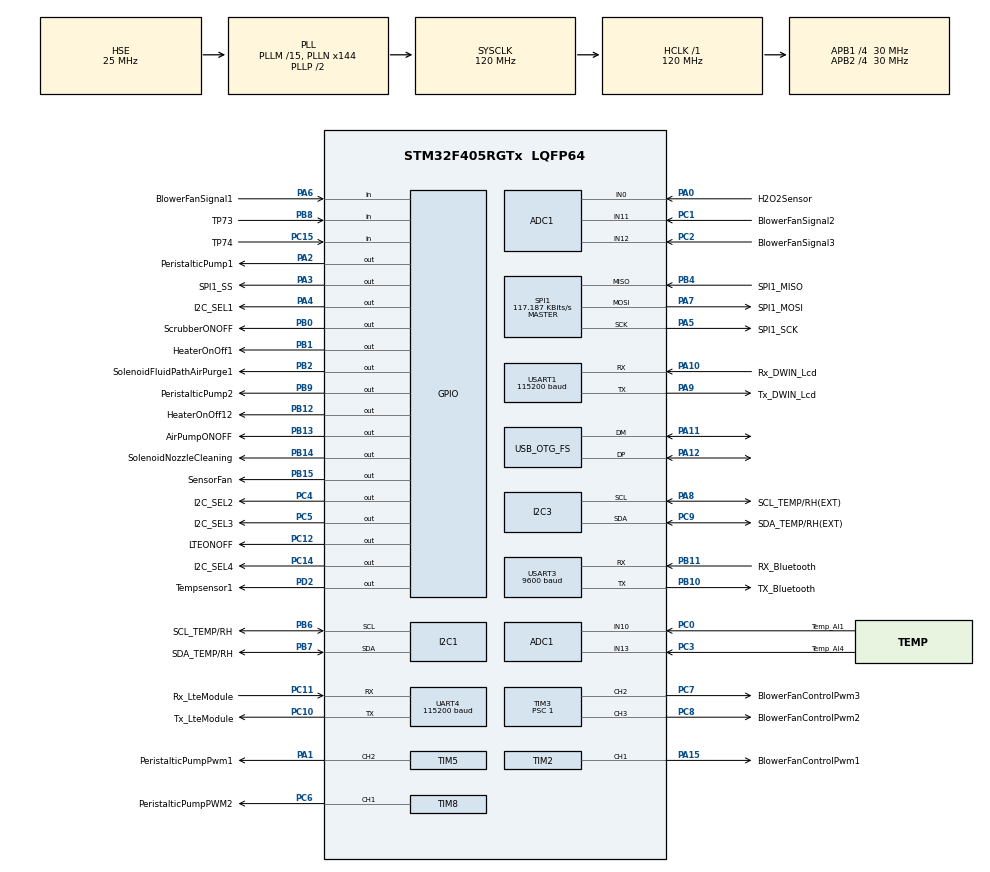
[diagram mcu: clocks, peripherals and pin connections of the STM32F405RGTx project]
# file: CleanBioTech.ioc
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ADC1.Channel-0\#ChannelRegularConversion=ADC_CHANNEL_0
ADC1.Channel-1\#ChannelRegularConversion=ADC_CHANNEL_10
ADC1.Channel-2\#ChannelRegularConversion=ADC_CHANNEL_11
ADC1.Channel-3\#ChannelRegularConversion=ADC_CHANNEL_12
ADC1.Channel-4\#ChannelRegularConversion=ADC_CHANNEL_13
ADC1.ClockPrescaler=ADC_CLOCK_SYNC_PCLK_DIV4
ADC1.ContinuousConvMode=ENABLE
ADC1.DMAContinuousRequests=ENABLE
ADC1.InjNumberOfConversion=0
ADC1.NbrOfConversion=5
ADC1.NbrOfConversionFlag=1
ADC1.Rank-0\#ChannelRegularConversion=1
ADC1.Rank-1\#ChannelRegularConversion=2
ADC1.Rank-2\#ChannelRegularConversion=3
ADC1.Rank-3\#ChannelRegularConversion=4
ADC1.Rank-4\#ChannelRegularConversion=5
ADC1.SamplingTime-0\#ChannelRegularConversion=ADC_SAMPLETIME_3CYCLES
ADC1.SamplingTime-1\#ChannelRegularConversion=ADC_SAMPLETIME_3CYCLES
ADC1.SamplingTime-2\#ChannelRegularConversion=ADC_SAMPLETIME_3CYCLES
ADC1.SamplingTime-3\#ChannelRegularConversion=ADC_SAMPLETIME_3CYCLES
ADC1.SamplingTime-4\#ChannelRegularConversion=ADC_SAMPLETIME_3CYCLES
ADC1.master=1
Dma.ADC1.0.Direction=DMA_PERIPH_TO_MEMORY
Dma.ADC1.0.FIFOMode=DMA_FIFOMODE_ENABLE
Dma.ADC1.0.FIFOThreshold=DMA_FIFO_THRESHOLD_FULL
Dma.ADC1.0.Instance=DMA2_Stream0
Dma.ADC1.0.MemBurst=DMA_MBURST_SINGLE
Dma.ADC1.0.MemDataAlignment=DMA_MDATAALIGN_WORD
Dma.ADC1.0.MemInc=DMA_MINC_ENABLE
Dma.ADC1.0.Mode=DMA_CIRCULAR
Dma.ADC1.0.PeriphBurst=DMA_PBURST_SINGLE
Dma.ADC1.0.PeriphDataAlignment=DMA_PDATAALIGN_WORD
Dma.ADC1.0.PeriphInc=DMA_PINC_DISABLE
Dma.ADC1.0.Priority=DMA_PRIORITY_LOW
Dma.Request0=ADC1
FATFS._CODE_PAGE=437
FATFS._FS_EXFAT=1
FATFS._FS_NORTC=0
FATFS._NORTC_MDAY=20
FATFS._NORTC_YEAR=2019
FATFS._USE_LFN=1
I2C1.NoStretchMode=I2C_NOSTRETCH_DISABLE
Mcu.Family=STM32F4
Mcu.Name=STM32F405RGTx
Mcu.Package=LQFP64
NVIC.DMA2_Stream0_IRQn=true\:0\:0\:false\:false\:true\:false\:true
NVIC.OTG_FS_IRQn=true\:0\:0\:false\:true\:true\:3\:false\:true
NVIC.PriorityGroup=NVIC_PRIORITYGROUP_4
NVIC.TIM7_IRQn=true\:0\:0\:false\:true\:true\:1\:true\:true
NVIC.USART1_IRQn=true\:0\:0\:false\:true\:true\:2\:true\:true
PA0-WKUP.GPIO_Label=H2O2Sensor
PA0-WKUP.Signal=ADCx_IN0
PA1.GPIO_Label=PeristalticPumpPwm1
PA1.GPIO_PuPd=GPIO_PULLUP
PA1.Signal=S_TIM5_CH2
PA10.GPIO_Label=Rx_DWIN_Lcd
PA10.Mode=Asynchronous
PA10.Signal=USART1_RX
PA11.GPIO_PuPd=GPIO_PULLUP
PA11.GPIO_Speed=GPIO_SPEED_FREQ_HIGH
PA11.Mode=Host_Only
PA11.Signal=USB_OTG_FS_DM
PA12.GPIO_PuPd=GPIO_PULLUP
PA12.GPIO_Speed=GPIO_SPEED_FREQ_HIGH
PA12.Mode=Host_Only
PA12.Signal=USB_OTG_FS_DP
PA13.Mode=Trace_Asynchronous_SW
PA13.Signal=SYS_JTMS-SWDIO
PA14.Mode=Trace_Asynchronous_SW
PA14.Signal=SYS_JTCK-SWCLK
PA15.GPIO_Label=BlowerFanControlPwm1
PA15.GPIO_PuPd=GPIO_PULLUP
PA15.Signal=S_TIM2_CH1_ETR
PA2.GPIO_Label=PeristalticPump1
PA2.Signal=GPIO_Output
PA3.GPIO_Label=SPI1_SS
PA3.GPIO_PuPd=GPIO_PULLUP
PA3.GPIO_Speed=GPIO_SPEED_FREQ_VERY_HIGH
PA3.PinState=GPIO_PIN_SET
PA3.Signal=GPIO_Output
PA4.GPIO_Label=I2C_SEL1
PA4.GPIO_PuPd=GPIO_PULLUP
PA4.Signal=GPIO_Output
PA5.GPIO_Label=SPI1_SCK
PA5.Mode=Full_Duplex_Master
PA5.Signal=SPI1_SCK
PA6.GPIO_Label=BlowerFanSignal1
PA6.GPIO_PuPd=GPIO_PULLUP
PA6.Signal=GPIO_Input
PA7.GPIO_Label=SPI1_MOSI
PA7.GPIO_PuPd=GPIO_PULLUP
PA7.Mode=Full_Duplex_Master
PA7.Signal=SPI1_MOSI
PA8.GPIO_Label=SCL_TEMP/RH(EXT)
PA8.Mode=I2C
PA8.Signal=I2C3_SCL
PA9.GPIO_Label=Tx_DWIN_Lcd
PA9.GPIO_Speed=GPIO_SPEED_FREQ_HIGH
PA9.Mode=Asynchronous
PA9.Signal=USART1_TX
PB0.GPIO_Label=ScrubberONOFF
PB0.GPIO_PuPd=GPIO_PULLDOWN
PB0.Signal=GPIO_Output
PB1.GPIO_Label=HeaterOnOff1
PB1.GPIO_PuPd=GPIO_PULLDOWN
PB1.Signal=GPIO_Output
PB10.GPIO_Label=TX_Bluetooth
PB10.GPIO_Speed=GPIO_SPEED_FREQ_HIGH
PB10.Mode=Asynchronous
PB10.Signal=USART3_TX
PB11.GPIO_Label=RX_Bluetooth
PB11.Mode=Asynchronous
PB11.Signal=USART3_RX
PB12.GPIO_Label=HeaterOnOff12
PB12.GPIO_PuPd=GPIO_PULLDOWN
PB12.Signal=GPIO_Output
PB13.GPIO_Label=AirPumpONOFF
PB13.GPIO_PuPd=GPIO_PULLDOWN
PB13.Signal=GPIO_Output
PB14.GPIO_Label=SolenoidNozzleCleaning
PB14.GPIO_PuPd=GPIO_PULLUP
PB14.Signal=GPIO_Output
PB15.GPIO_Label=SensorFan
PB15.GPIO_ModeDefaultOutputPP=GPIO_MODE_OUTPUT_PP
PB15.GPIO_PuPd=GPIO_PULLUP
PB15.PinState=GPIO_PIN_SET
PB15.Signal=GPIO_Output
PB2.GPIO_Label=SolenoidFluidPathAirPurge1
PB2.GPIO_PuPd=GPIO_PULLUP
PB2.Signal=GPIO_Output
PB3.Mode=Trace_Asynchronous_SW
PB3.Signal=SYS_JTDO-SWO
PB4.GPIO_Label=SPI1_MISO
PB4.GPIO_PuPd=GPIO_PULLUP
PB4.Mode=Full_Duplex_Master
PB4.Signal=SPI1_MISO
PB6.GPIO_Label=SCL_TEMP/RH
PB6.Mode=I2C
PB6.Signal=I2C1_SCL
PB7.GPIO_Label=SDA_TEMP/RH
PB7.Mode=I2C
PB7.Signal=I2C1_SDA
PB8.GPIO_Label=TP73
PB8.GPIO_PuPd=GPIO_PULLUP
PB8.Signal=GPIO_Input
PB9.GPIO_Label=PeristalticPump2
PB9.PinState=GPIO_PIN_SET
PB9.Signal=GPIO_Output
PC0.GPIO_Label=Temp_AI1
PC0.Signal=ADCx_IN10
PC1.GPIO_Label=BlowerFanSignal2
PC1.Signal=ADCx_IN11
PC10.GPIO_Label=Tx_LteModule
PC10.Mode=Asynchronous
PC10.Signal=UART4_TX
PC11.GPIO_Label=Rx_LteModule
PC11.Mode=Asynchronous
PC11.Signal=UART4_RX
PC12.GPIO_Label=LTEONOFF
PC12.GPIO_ModeDefaultOutputPP=GPIO_MODE_OUTPUT_OD
PC12.GPIO_PuPd=GPIO_NOPULL
PC12.GPIO_Speed=GPIO_SPEED_FREQ_HIGH
PC12.PinState=GPIO_PIN_RESET
PC12.Signal=GPIO_Output
PC14-OSC32_IN.GPIO_Label=I2C_SEL4
PC14-OSC32_IN.GPIO_PuPd=GPIO_PULLUP
PC14-OSC32_IN.Signal=GPIO_Output
PC15-OSC32_OUT.GPIO_Label=TP74
PC15-OSC32_OUT.GPIO_PuPd=GPIO_PULLUP
PC15-OSC32_OUT.Signal=GPIO_Input
PC2.GPIO_Label=BlowerFanSignal3
PC2.Signal=ADCx_IN12
PC3.GPIO_Label=Temp_AI4
PC3.Signal=ADCx_IN13
PC4.GPIO_Label=I2C_SEL2
PC4.GPIO_PuPd=GPIO_PULLUP
PC4.Signal=GPIO_Output
PC5.GPIO_Label=I2C_SEL3
PC5.GPIO_PuPd=GPIO_PULLUP
PC5.Signal=GPIO_Output
PC6.GPIO_Label=PeristalticPumpPWM2
PC6.Signal=S_TIM8_CH1
PC7.GPIO_Label=BlowerFanControlPwm3
PC7.GPIO_PuPd=GPIO_PULLUP
PC7.Signal=S_TIM3_CH2
PC8.GPIO_Label=BlowerFanControlPwm2
PC8.GPIO_PuPd=GPIO_PULLUP
PC8.Signal=S_TIM3_CH3
PC9.GPIO_Label=SDA_TEMP/RH(EXT)
PC9.Mode=I2C
PC9.Signal=I2C3_SDA
PD2.GPIO_Label=Tempsensor1
PD2.GPIO_PuPd=GPIO_PULLUP
PD2.GPIO_Speed=GPIO_SPEED_FREQ_VERY_HIGH
PD2.PinState=GPIO_PIN_SET
PD2.Signal=GPIO_Output
PH0-OSC_IN.Mode=HSE-External-Oscillator
PH0-OSC_IN.Signal=RCC_OSC_IN
PH1-OSC_OUT.Mode=HSE-External-Oscillator
PH1-OSC_OUT.Signal=RCC_OSC_OUT
ProjectManager.HeapSize=0x200
ProjectManager.StackSize=0x400
ProjectManager.TargetToolchain=STM32CubeIDE
RCC.48MHZClocksFreq_Value=48000000
RCC.AHBFreq_Value=120000000
RCC.APB1CLKDivider=RCC_HCLK_DIV4
RCC.APB1Freq_Value=30000000
RCC.APB1TimFreq_Value=60000000
RCC.APB2CLKDivider=RCC_HCLK_DIV4
RCC.APB2Freq_Value=30000000
RCC.APB2TimFreq_Value=60000000
RCC.CortexFreq_Value=120000000
RCC.HCLKFreq_Value=120000000
RCC.HSE_VALUE=25000000
RCC.HSI_VALUE=16000000
RCC.LSE_VALUE=32768
RCC.PLLM=15
RCC.PLLN=144
RCC.PLLQ=5
RCC.SYSCLKFreq_VALUE=120000000
RCC.SYSCLKSource=RCC_SYSCLKSOURCE_PLLCLK
RCC.VCOOutputFreq_Value=240000000
SH.ADCx_IN0.0=ADC1_IN0,IN0
SH.ADCx_IN10.0=ADC1_IN10,IN10
SH.ADCx_IN11.0=ADC1_IN11,IN11
SH.ADCx_IN12.0=ADC1_IN12,IN12
SH.ADCx_IN13.0=ADC1_IN13,IN13
SH.S_TIM2_CH1_ETR.0=TIM2_CH1,PWM Generation1 CH1
SH.S_TIM3_CH2.0=TIM3_CH2,PWM Generation2 CH2
SH.S_TIM3_CH3.0=TIM3_CH3,PWM Generation3 CH3
SH.S_TIM5_CH2.0=TIM5_CH2,PWM Generation2 CH2
SH.S_TIM8_CH1.0=TIM8_CH1,PWM Generation1 CH1
SPI1.BaudRatePrescaler=SPI_BAUDRATEPRESCALER_256
SPI1.CLKPolarity=SPI_POLARITY_LOW
SPI1.CalculateBaudRate=117.187 KBits/s
SPI1.Direction=SPI_DIRECTION_2LINES
SPI1.Mode=SPI_MODE_MASTER
SPI1.VirtualType=VM_MASTER
TIM2.Channel-PWM\ Generation1\ CH1=TIM_CHANNEL_1
TIM2.OCPolarity_1=TIM_OCPOLARITY_LOW
TIM2.Period=1200-1
TIM2.Prescaler=1
TIM2.Pulse-PWM\ Generation1\ CH1=780-1
TIM3.Channel-PWM\ Generation2\ CH2=TIM_CHANNEL_2
TIM3.Channel-PWM\ Generation3\ CH3=TIM_CHANNEL_3
TIM3.OCPolarity_2=TIM_OCPOLARITY_LOW
TIM3.OCPolarity_3=TIM_OCPOLARITY_LOW
TIM3.Period=1200-1
TIM3.Prescaler=1
TIM3.Pulse-PWM\ Generation2\ CH2=780-1
TIM3.Pulse-PWM\ Generation3\ CH3=780-1
TIM5.Channel-PWM\ Generation2\ CH2=TIM_CHANNEL_2
TIM5.Period=20400-1
TIM5.Prescaler=1
TIM5.Pulse-PWM\ Generation2\ CH2=4080-1
TIM7.Period=6000-1
TIM7.Prescaler=10-1
TIM8.Channel-PWM\ Generation1\ CH1=TIM_CHANNEL_1
TIM8.Period=40800-1
TIM8.Pulse-PWM\ Generation1\ CH1=8160-1
UART4.BaudRate=115200
UART4.VirtualMode=Asynchronous
USART1.BaudRate=115200
USART1.VirtualMode=VM_ASYNC
USART3.BaudRate=9600
USART3.VirtualMode=VM_ASYNC
USB_HOST.BSP.number=1
USB_HOST.USBH_HandleTypeDef-MSC_FS=hUsbHostFS
USB_HOST.VirtualModeFS=Msc
USB_HOST0.BSP.STBoard=false
USB_HOST0.BSP.api=Unknown
USB_HOST0.BSP.i2caddr=0
USB_HOST0.BSP.instance=PB13
USB_HOST0.BSP.ip=GPIO
USB_HOST0.BSP.mode=Output
USB_HOST0.BSP.name=Drive_VBUS_FS
USB_HOST0.BSP.solution=PB13
USB_OTG_FS.Sof_enable=DISABLE
USB_OTG_FS.VirtualMode=Host_Only
USB_OTG_FS.phy_itface=HCD_PHY_EMBEDDED
VP_CRC_VS_CRC.Mode=CRC_Activate
VP_FATFS_VS_USB.Mode=USB
VP_RTC_VS_RTC_Activate.Mode=RTC_Enabled
VP_RTC_VS_RTC_Calendar.Mode=RTC_Calendar
VP_TIM2_VS_ClockSourceINT.Mode=Internal
VP_TIM3_VS_ClockSourceINT.Mode=Internal
VP_TIM5_VS_ClockSourceINT.Mode=Internal
VP_TIM7_VS_ClockSourceINT.Mode=Enable_Timer
VP_TIM8_VS_ClockSourceINT.Mode=Internal
VP_USB_HOST_VS_USB_HOST_MSC_FS.Mode=MSC_FS
board=custom

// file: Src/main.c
/* USER CODE BEGIN Header */
/**
  ******************************************************************************
  * @file           : main.c
  * @brief          : Main program body
  ******************************************************************************
  * @attention
  *
  * <h2><center>&copy; Copyright (c) 2019 STMicroelectronics.
  * All rights reserved.</center></h2>
  *
  * This software component is licensed by ST under Ultimate Liberty license
  * SLA0044, the "License"; You may not use this file except in compliance with
  * the License. You may obtain a copy of the License at:
  *                             www.st.com/SLA0044
  *
  ******************************************************************************
  */
/* USER CODE END Header */

#include "main.h"
#include "fatfs.h"
#include "usb_host.h"

/* USER CODE BEGIN Includes */
#include "define.h"
#include "flash.h"
#include "lcd.h"
#include "Process.h"
/* USER CODE END Includes */

ADC_HandleTypeDef hadc1;
DMA_HandleTypeDef hdma_adc1;

CRC_HandleTypeDef hcrc;

I2C_HandleTypeDef hi2c1;
I2C_HandleTypeDef hi2c3;

RTC_HandleTypeDef hrtc;

SPI_HandleTypeDef hspi1;

TIM_HandleTypeDef htim2;
TIM_HandleTypeDef htim3;
TIM_HandleTypeDef htim5;
TIM_HandleTypeDef htim7;
TIM_HandleTypeDef htim8;

UART_HandleTypeDef huart4;
UART_HandleTypeDef huart1;
UART_HandleTypeDef huart3;

void SystemClock_Config(void);
static void MX_GPIO_Init(void);
static void MX_DMA_Init(void);
static void MX_ADC1_Init(void);
static void MX_CRC_Init(void);
static void MX_I2C1_Init(void);
static void MX_I2C3_Init(void);
static void MX_SPI1_Init(void);
static void MX_TIM2_Init(void);
static void MX_TIM3_Init(void);
static void MX_TIM5_Init(void);
static void MX_UART4_Init(void);
static void MX_USART1_UART_Init(void);
static void MX_USART3_UART_Init(void);
static void MX_TIM7_Init(void);
static void MX_TIM8_Init(void);
static void MX_RTC_Init(void);
static void MX_NVIC_Init(void);
void MX_USB_HOST_Process(void);

/* USER CODE BEGIN 0 */
uint16_t ccr[5]={}, ccr_max = ConstantBlowerFanControlPwmCycle;//ccr_max = 3360 - 1;
// 3700 -> 18cc, 9000 -> 7.4cc
//unsigned int PeristalticPumpPwmCycle = ConstantPeristalticPumpPwmCycle;

extern unsigned char UART_Receive_Flag, EndTimer_Flag, Timer_Half_1s_Flag,
						Timer_1s_Flag, Timer_DeliSecond_Flag, Timer_CentiSecond_Flag, Timer_MiliSecond_Flag, Timer_1minute_Flag;

/* USER CODE END 0 */

int main(void)
{

  /* MCU Configuration--------------------------------------------------------*/

  /* Reset of all peripherals, Initializes the Flash interface and the Systick. */
  HAL_Init();

  /* Configure the system clock */
  SystemClock_Config();

  /* Initialize all configured peripherals */
  MX_GPIO_Init();
  MX_DMA_Init();
  MX_ADC1_Init();
  MX_CRC_Init();
  MX_I2C1_Init();
  MX_I2C3_Init();
  MX_SPI1_Init();
  MX_TIM2_Init();
  MX_TIM3_Init();
  MX_TIM5_Init();
  MX_UART4_Init();
  MX_USART1_UART_Init();
  MX_USART3_UART_Init();
  MX_FATFS_Init();
  MX_USB_HOST_Init();
  MX_TIM7_Init();
  MX_TIM8_Init();
  MX_RTC_Init();

  /* Initialize interrupts */
  MX_NVIC_Init();
  /* USER CODE BEGIN 2 */

  HAL_TIM_Base_Start_IT(&htim7);

  // Initialize Process.
  InitProcess();

  /* USER CODE END 2 */

  /* Infinite loop */
  /* USER CODE BEGIN WHILE */
  while (1)
  {
	if(UART_Receive_Flag) {
		UART_Receive_Flag = 0;
		LCD_Process();
	}

	if(Timer_CentiSecond_Flag) {
		Timer_CentiSecond_Flag = 0;
		CentiSecondProcess();
	}
	if(Timer_DeliSecond_Flag) {
		Timer_DeliSecond_Flag = 0;
		DeliSecondProcess();
	}
	if(Timer_Half_1s_Flag){
	  Timer_Half_1s_Flag=0;
	  HalfSecondProcess();
	}
	if(Timer_1s_Flag) {
		Timer_1s_Flag = 0;
		OneSecondProcess();
	}
	if(Timer_1minute_Flag) {
		Timer_1minute_Flag = 0;
		OneMinuteProcess();
	}

	if(EndTimer_Flag) {
		ProcessEndTimer();
		ProcessTestEndTimer();
	}
    /* USER CODE END WHILE */
    MX_USB_HOST_Process();

  }
}

void SystemClock_Config(void)
{
  RCC_OscInitTypeDef RCC_OscInitStruct = {0};
  RCC_ClkInitTypeDef RCC_ClkInitStruct = {0};
  RCC_PeriphCLKInitTypeDef PeriphClkInitStruct = {0};

  /** Configure the main internal regulator output voltage
  */
  __HAL_RCC_PWR_CLK_ENABLE();
  __HAL_PWR_VOLTAGESCALING_CONFIG(PWR_REGULATOR_VOLTAGE_SCALE1);
  /** Initializes the CPU, AHB and APB busses clocks
  */
  RCC_OscInitStruct.OscillatorType = RCC_OSCILLATORTYPE_LSI|RCC_OSCILLATORTYPE_HSE;
  RCC_OscInitStruct.HSEState = RCC_HSE_ON;
  RCC_OscInitStruct.LSIState = RCC_LSI_ON;
  RCC_OscInitStruct.PLL.PLLState = RCC_PLL_ON;
  RCC_OscInitStruct.PLL.PLLSource = RCC_PLLSOURCE_HSE;
  RCC_OscInitStruct.PLL.PLLM = 15;
  RCC_OscInitStruct.PLL.PLLN = 144;
  RCC_OscInitStruct.PLL.PLLP = RCC_PLLP_DIV2;
  RCC_OscInitStruct.PLL.PLLQ = 5;
  if (HAL_RCC_OscConfig(&RCC_OscInitStruct) != HAL_OK)
  {
    Error_Handler();
  }
  /** Initializes the CPU, AHB and APB busses clocks
  */
  RCC_ClkInitStruct.ClockType = RCC_CLOCKTYPE_HCLK|RCC_CLOCKTYPE_SYSCLK
                              |RCC_CLOCKTYPE_PCLK1|RCC_CLOCKTYPE_PCLK2;
  RCC_ClkInitStruct.SYSCLKSource = RCC_SYSCLKSOURCE_PLLCLK;
  RCC_ClkInitStruct.AHBCLKDivider = RCC_SYSCLK_DIV1;
  RCC_ClkInitStruct.APB1CLKDivider = RCC_HCLK_DIV4;
  RCC_ClkInitStruct.APB2CLKDivider = RCC_HCLK_DIV4;

  if (HAL_RCC_ClockConfig(&RCC_ClkInitStruct, FLASH_LATENCY_3) != HAL_OK)
  {
    Error_Handler();
  }
  PeriphClkInitStruct.PeriphClockSelection = RCC_PERIPHCLK_RTC;
  PeriphClkInitStruct.RTCClockSelection = RCC_RTCCLKSOURCE_LSI;
  if (HAL_RCCEx_PeriphCLKConfig(&PeriphClkInitStruct) != HAL_OK)
  {
    Error_Handler();
  }
}

/**
  * @brief NVIC Configuration.
  * @retval None
  */
static void MX_NVIC_Init(void)
{
  /* TIM7_IRQn interrupt configuration */
  HAL_NVIC_SetPriority(TIM7_IRQn, 0, 0);
  HAL_NVIC_EnableIRQ(TIM7_IRQn);
  /* USART1_IRQn interrupt configuration */
  HAL_NVIC_SetPriority(USART1_IRQn, 0, 0);
  HAL_NVIC_EnableIRQ(USART1_IRQn);
  /* OTG_FS_IRQn interrupt configuration */
  HAL_NVIC_SetPriority(OTG_FS_IRQn, 0, 0);
  HAL_NVIC_EnableIRQ(OTG_FS_IRQn);
}

static void MX_ADC1_Init(void)
{

  ADC_ChannelConfTypeDef sConfig = {0};

  /** Configure the global features of the ADC (Clock, Resolution, Data Alignment and number of conversion)
  */
  hadc1.Instance = ADC1;
  hadc1.Init.ClockPrescaler = ADC_CLOCK_SYNC_PCLK_DIV4;
  hadc1.Init.Resolution = ADC_RESOLUTION_12B;
  hadc1.Init.ScanConvMode = ENABLE;
  hadc1.Init.ContinuousConvMode = ENABLE;
  hadc1.Init.DiscontinuousConvMode = DISABLE;
  hadc1.Init.ExternalTrigConvEdge = ADC_EXTERNALTRIGCONVEDGE_NONE;
  hadc1.Init.ExternalTrigConv = ADC_SOFTWARE_START;
  hadc1.Init.DataAlign = ADC_DATAALIGN_RIGHT;
  hadc1.Init.NbrOfConversion = 5;
  hadc1.Init.DMAContinuousRequests = ENABLE;
  hadc1.Init.EOCSelection = ADC_EOC_SINGLE_CONV;
  if (HAL_ADC_Init(&hadc1) != HAL_OK)
  {
    Error_Handler();
  }
  /** Configure for the selected ADC regular channel its corresponding rank in the sequencer and its sample time.
  */
  sConfig.Channel = ADC_CHANNEL_0;
  sConfig.Rank = 1;
  sConfig.SamplingTime = ADC_SAMPLETIME_3CYCLES;
  if (HAL_ADC_ConfigChannel(&hadc1, &sConfig) != HAL_OK)
  {
    Error_Handler();
  }
  /** Configure for the selected ADC regular channel its corresponding rank in the sequencer and its sample time.
  */
  sConfig.Channel = ADC_CHANNEL_10;
  sConfig.Rank = 2;
  if (HAL_ADC_ConfigChannel(&hadc1, &sConfig) != HAL_OK)
  {
    Error_Handler();
  }
  /** Configure for the selected ADC regular channel its corresponding rank in the sequencer and its sample time.
  */
  sConfig.Channel = ADC_CHANNEL_11;
  sConfig.Rank = 3;
  if (HAL_ADC_ConfigChannel(&hadc1, &sConfig) != HAL_OK)
  {
    Error_Handler();
  }
  /** Configure for the selected ADC regular channel its corresponding rank in the sequencer and its sample time.
  */
  sConfig.Channel = ADC_CHANNEL_12;
  sConfig.Rank = 4;
  if (HAL_ADC_ConfigChannel(&hadc1, &sConfig) != HAL_OK)
  {
    Error_Handler();
  }
  /** Configure for the selected ADC regular channel its corresponding rank in the sequencer and its sample time.
  */
  sConfig.Channel = ADC_CHANNEL_13;
  sConfig.Rank = 5;
  if (HAL_ADC_ConfigChannel(&hadc1, &sConfig) != HAL_OK)
  {
    Error_Handler();
  }

}

static void MX_CRC_Init(void)
{

  hcrc.Instance = CRC;
  if (HAL_CRC_Init(&hcrc) != HAL_OK)
  {
    Error_Handler();
  }

}

static void MX_I2C1_Init(void)
{

  hi2c1.Instance = I2C1;
  hi2c1.Init.ClockSpeed = 100000;
  hi2c1.Init.DutyCycle = I2C_DUTYCYCLE_2;
  hi2c1.Init.OwnAddress1 = 0;
  hi2c1.Init.AddressingMode = I2C_ADDRESSINGMODE_7BIT;
  hi2c1.Init.DualAddressMode = I2C_DUALADDRESS_DISABLE;
  hi2c1.Init.OwnAddress2 = 0;
  hi2c1.Init.GeneralCallMode = I2C_GENERALCALL_DISABLE;
  hi2c1.Init.NoStretchMode = I2C_NOSTRETCH_DISABLE;
  if (HAL_I2C_Init(&hi2c1) != HAL_OK)
  {
    Error_Handler();
  }

}

static void MX_I2C3_Init(void)
{

  hi2c3.Instance = I2C3;
  hi2c3.Init.ClockSpeed = 100000;
  hi2c3.Init.DutyCycle = I2C_DUTYCYCLE_2;
  hi2c3.Init.OwnAddress1 = 0;
  hi2c3.Init.AddressingMode = I2C_ADDRESSINGMODE_7BIT;
  hi2c3.Init.DualAddressMode = I2C_DUALADDRESS_DISABLE;
  hi2c3.Init.OwnAddress2 = 0;
  hi2c3.Init.GeneralCallMode = I2C_GENERALCALL_DISABLE;
  hi2c3.Init.NoStretchMode = I2C_NOSTRETCH_DISABLE;
  if (HAL_I2C_Init(&hi2c3) != HAL_OK)
  {
    Error_Handler();
  }
  /* USER CODE BEGIN I2C3_Init 2 */
  //__HAL_RCC_I2C3_FORCE_RESET();
  //HAL_Delay(2);
  //__HAL_RCC_I2C3_RELEASE_RESET();
  /* USER CODE END I2C3_Init 2 */

}

static void MX_RTC_Init(void)
{

  RTC_TimeTypeDef sTime = {0};
  RTC_DateTypeDef sDate = {0};

  /** Initialize RTC Only
  */
  hrtc.Instance = RTC;
  hrtc.Init.HourFormat = RTC_HOURFORMAT_24;
  hrtc.Init.AsynchPrediv = 127;
  hrtc.Init.SynchPrediv = 255;
  hrtc.Init.OutPut = RTC_OUTPUT_DISABLE;
  hrtc.Init.OutPutPolarity = RTC_OUTPUT_POLARITY_HIGH;
  hrtc.Init.OutPutType = RTC_OUTPUT_TYPE_OPENDRAIN;
  if (HAL_RTC_Init(&hrtc) != HAL_OK)
  {
    Error_Handler();
  }

  /** Initialize RTC and set the Time and Date
  */
  sTime.Hours = 0x0;
  sTime.Minutes = 0x0;
  sTime.Seconds = 0x0;
  sTime.DayLightSaving = RTC_DAYLIGHTSAVING_NONE;
  sTime.StoreOperation = RTC_STOREOPERATION_RESET;
  if (HAL_RTC_SetTime(&hrtc, &sTime, RTC_FORMAT_BCD) != HAL_OK)
  {
    Error_Handler();
  }
  sDate.WeekDay = RTC_WEEKDAY_MONDAY;
  sDate.Month = RTC_MONTH_JANUARY;
  sDate.Date = 0x1;
  sDate.Year = 0x0;

  if (HAL_RTC_SetDate(&hrtc, &sDate, RTC_FORMAT_BCD) != HAL_OK)
  {
    Error_Handler();
  }

}

static void MX_SPI1_Init(void)
{

  /* SPI1 parameter configuration*/
  hspi1.Instance = SPI1;
  hspi1.Init.Mode = SPI_MODE_MASTER;
  hspi1.Init.Direction = SPI_DIRECTION_2LINES;
  hspi1.Init.DataSize = SPI_DATASIZE_8BIT;
  hspi1.Init.CLKPolarity = SPI_POLARITY_LOW;
  hspi1.Init.CLKPhase = SPI_PHASE_1EDGE;
  hspi1.Init.NSS = SPI_NSS_SOFT;
  hspi1.Init.BaudRatePrescaler = SPI_BAUDRATEPRESCALER_256;
  hspi1.Init.FirstBit = SPI_FIRSTBIT_MSB;
  hspi1.Init.TIMode = SPI_TIMODE_DISABLE;
  hspi1.Init.CRCCalculation = SPI_CRCCALCULATION_DISABLE;
  hspi1.Init.CRCPolynomial = 10;
  if (HAL_SPI_Init(&hspi1) != HAL_OK)
  {
    Error_Handler();
  }

}

static void MX_TIM2_Init(void)
{

  TIM_ClockConfigTypeDef sClockSourceConfig = {0};
  TIM_MasterConfigTypeDef sMasterConfig = {0};
  TIM_OC_InitTypeDef sConfigOC = {0};

  /* USER CODE BEGIN TIM2_Init 1 */
/*
TIM2CH2 --> BlowerFanControlPwm1
    htim2.Instance = TIM2;
    htim2.Init.Prescaler = 1;
    htim2.Init.CounterMode = TIM_COUNTERMODE_UP;
    htim2.Init.Period = ccr_max -1;
    htim2.Init.ClockDivision = TIM_CLOCKDIVISION_DIV1;
    htim2.Init.AutoReloadPreload = TIM_AUTORELOAD_PRELOAD_DISABLE;
*/
  /* USER CODE END TIM2_Init 1 */
  htim2.Instance = TIM2;
  htim2.Init.Prescaler = 1;
  htim2.Init.CounterMode = TIM_COUNTERMODE_UP;
  htim2.Init.Period = 1200-1;
  htim2.Init.ClockDivision = TIM_CLOCKDIVISION_DIV1;
  htim2.Init.AutoReloadPreload = TIM_AUTORELOAD_PRELOAD_DISABLE;
  if (HAL_TIM_Base_Init(&htim2) != HAL_OK)
  {
    Error_Handler();
  }
  sClockSourceConfig.ClockSource = TIM_CLOCKSOURCE_INTERNAL;
  if (HAL_TIM_ConfigClockSource(&htim2, &sClockSourceConfig) != HAL_OK)
  {
    Error_Handler();
  }
  if (HAL_TIM_PWM_Init(&htim2) != HAL_OK)
  {
    Error_Handler();
  }
  sMasterConfig.MasterOutputTrigger = TIM_TRGO_RESET;
  sMasterConfig.MasterSlaveMode = TIM_MASTERSLAVEMODE_DISABLE;
  if (HAL_TIMEx_MasterConfigSynchronization(&htim2, &sMasterConfig) != HAL_OK)
  {
    Error_Handler();
  }
  sConfigOC.OCMode = TIM_OCMODE_PWM1;
  sConfigOC.Pulse = 780-1;
  sConfigOC.OCPolarity = TIM_OCPOLARITY_LOW;
  sConfigOC.OCFastMode = TIM_OCFAST_DISABLE;
  if (HAL_TIM_PWM_ConfigChannel(&htim2, &sConfigOC, TIM_CHANNEL_1) != HAL_OK)
  {
    Error_Handler();
  }
  /* USER CODE BEGIN TIM2_Init 2 */
/*
  sConfigOC.OCMode = TIM_OCMODE_PWM1;
  sConfigOC.Pulse = ccr_max * ccr[0] / 100 - 1;
  sConfigOC.OCPolarity = TIM_OCPOLARITY_LOW;
  sConfigOC.OCFastMode = TIM_OCFAST_DISABLE;
  if (HAL_TIM_PWM_ConfigChannel(&htim2, &sConfigOC, TIM_CHANNEL_1) != HAL_OK)
  {
    Error_Handler();
  }
 */

  /* USER CODE END TIM2_Init 2 */
  HAL_TIM_MspPostInit(&htim2);

}

static void MX_TIM3_Init(void)
{

  TIM_ClockConfigTypeDef sClockSourceConfig = {0};
  TIM_MasterConfigTypeDef sMasterConfig = {0};
  TIM_OC_InitTypeDef sConfigOC = {0};

  /* USER CODE BEGIN TIM3_Init 1 */
  /*
TIM3CH2 --> BlowerFanControlPwm3
TIM3CH3 --> BlowerFanControlPwm2
    htim3.Instance = TIM3;
    htim3.Init.Prescaler = 1;
    htim3.Init.CounterMode = TIM_COUNTERMODE_UP;
    htim3.Init.Period = ccr_max - 1;
    htim3.Init.ClockDivision = TIM_CLOCKDIVISION_DIV1;
    htim3.Init.AutoReloadPreload = TIM_AUTORELOAD_PRELOAD_DISABLE;
   */
  /* USER CODE END TIM3_Init 1 */
  htim3.Instance = TIM3;
  htim3.Init.Prescaler = 1;
  htim3.Init.CounterMode = TIM_COUNTERMODE_UP;
  htim3.Init.Period = 1200-1;
  htim3.Init.ClockDivision = TIM_CLOCKDIVISION_DIV1;
  htim3.Init.AutoReloadPreload = TIM_AUTORELOAD_PRELOAD_DISABLE;
  if (HAL_TIM_Base_Init(&htim3) != HAL_OK)
  {
    Error_Handler();
  }
  sClockSourceConfig.ClockSource = TIM_CLOCKSOURCE_INTERNAL;
  if (HAL_TIM_ConfigClockSource(&htim3, &sClockSourceConfig) != HAL_OK)
  {
    Error_Handler();
  }
  if (HAL_TIM_PWM_Init(&htim3) != HAL_OK)
  {
    Error_Handler();
  }
  sMasterConfig.MasterOutputTrigger = TIM_TRGO_RESET;
  sMasterConfig.MasterSlaveMode = TIM_MASTERSLAVEMODE_DISABLE;
  if (HAL_TIMEx_MasterConfigSynchronization(&htim3, &sMasterConfig) != HAL_OK)
  {
    Error_Handler();
  }
  sConfigOC.OCMode = TIM_OCMODE_PWM1;
  sConfigOC.Pulse = 780-1;
  sConfigOC.OCPolarity = TIM_OCPOLARITY_LOW;
  sConfigOC.OCFastMode = TIM_OCFAST_DISABLE;
  if (HAL_TIM_PWM_ConfigChannel(&htim3, &sConfigOC, TIM_CHANNEL_2) != HAL_OK)
  {
    Error_Handler();
  }
  if (HAL_TIM_PWM_ConfigChannel(&htim3, &sConfigOC, TIM_CHANNEL_3) != HAL_OK)
  {
    Error_Handler();
  }
  /* USER CODE BEGIN TIM3_Init 2 */
/*
  // BloweFanControlPwm4 = channel3
  sConfigOC.OCMode = TIM_OCMODE_PWM1;
  sConfigOC.Pulse = ccr_max * ccr[3] / 100 - 1;
  sConfigOC.OCPolarity = TIM_OCPOLARITY_LOW;
  sConfigOC.OCFastMode = TIM_OCFAST_DISABLE;
  if (HAL_TIM_PWM_ConfigChannel(&htim3, &sConfigOC, TIM_CHANNEL_1) != HAL_OK)
  {
    Error_Handler();
  }
  // BloweFanControlPwm3 = channel2
  sConfigOC.Pulse = ccr_max * ccr[2] / 100 - 1;
  if (HAL_TIM_PWM_ConfigChannel(&htim3, &sConfigOC, TIM_CHANNEL_2) != HAL_OK)
  {
    Error_Handler();
  }
  // BloweFanControlPwm2 = channel1
  sConfigOC.Pulse = ccr_max * ccr[1] / 100 - 1;
  if (HAL_TIM_PWM_ConfigChannel(&htim3, &sConfigOC, TIM_CHANNEL_3) != HAL_OK)
  {
    Error_Handler();
  }
 */

  /* USER CODE END TIM3_Init 2 */
  HAL_TIM_MspPostInit(&htim3);

}

static void MX_TIM5_Init(void)
{

  TIM_ClockConfigTypeDef sClockSourceConfig = {0};
  TIM_MasterConfigTypeDef sMasterConfig = {0};
  TIM_OC_InitTypeDef sConfigOC = {0};

  /* USER CODE BEGIN TIM5_Init 1 */
/*
  htim5.Instance = TIM5;
  htim5.Init.Prescaler = 1;
  htim5.Init.CounterMode = TIM_COUNTERMODE_UP;
  htim5.Init.Period = ConstantPeristalticPumpPwmCycle-1;
  htim5.Init.ClockDivision = TIM_CLOCKDIVISION_DIV1;
  htim5.Init.AutoReloadPreload = TIM_AUTORELOAD_PRELOAD_DISABLE;
 */
  /* USER CODE END TIM5_Init 1 */
  htim5.Instance = TIM5;
  htim5.Init.Prescaler = 1;
  htim5.Init.CounterMode = TIM_COUNTERMODE_UP;
  htim5.Init.Period = 20400-1;
  htim5.Init.ClockDivision = TIM_CLOCKDIVISION_DIV1;
  htim5.Init.AutoReloadPreload = TIM_AUTORELOAD_PRELOAD_DISABLE;
  if (HAL_TIM_Base_Init(&htim5) != HAL_OK)
  {
    Error_Handler();
  }
  sClockSourceConfig.ClockSource = TIM_CLOCKSOURCE_INTERNAL;
  if (HAL_TIM_ConfigClockSource(&htim5, &sClockSourceConfig) != HAL_OK)
  {
    Error_Handler();
  }
  if (HAL_TIM_PWM_Init(&htim5) != HAL_OK)
  {
    Error_Handler();
  }
  sMasterConfig.MasterOutputTrigger = TIM_TRGO_RESET;
  sMasterConfig.MasterSlaveMode = TIM_MASTERSLAVEMODE_DISABLE;
  if (HAL_TIMEx_MasterConfigSynchronization(&htim5, &sMasterConfig) != HAL_OK)
  {
    Error_Handler();
  }
  sConfigOC.OCMode = TIM_OCMODE_PWM1;
  sConfigOC.Pulse = 4080-1;
  sConfigOC.OCPolarity = TIM_OCPOLARITY_HIGH;
  sConfigOC.OCFastMode = TIM_OCFAST_DISABLE;
  if (HAL_TIM_PWM_ConfigChannel(&htim5, &sConfigOC, TIM_CHANNEL_2) != HAL_OK)
  {
    Error_Handler();
  }
  /* USER CODE BEGIN TIM5_Init 2 */
/*
  sConfigOC.OCMode = TIM_OCMODE_PWM1;
  sConfigOC.Pulse = ((ConstantPeristalticPumpPwmCycle) * 20 / 100) - 1;	// 20 % duty
  sConfigOC.OCPolarity = TIM_OCPOLARITY_HIGH;
  sConfigOC.OCFastMode = TIM_OCFAST_DISABLE;
*/
  /* USER CODE END TIM5_Init 2 */
  HAL_TIM_MspPostInit(&htim5);

}

static void MX_TIM7_Init(void)
{

  TIM_MasterConfigTypeDef sMasterConfig = {0};

  /* USER CODE BEGIN TIM7_Init 1 */
/*
  htim7.Instance = TIM7;
  htim7.Init.Prescaler = 10-1;
  htim7.Init.CounterMode = TIM_COUNTERMODE_UP;
  htim7.Init.Period = 8400-1;
  htim7.Init.AutoReloadPreload = TIM_AUTORELOAD_PRELOAD_DISABLE;
*/
  /* USER CODE END TIM7_Init 1 */
  htim7.Instance = TIM7;
  htim7.Init.Prescaler = 10-1;
  htim7.Init.CounterMode = TIM_COUNTERMODE_UP;
  htim7.Init.Period = 6000-1;
  htim7.Init.AutoReloadPreload = TIM_AUTORELOAD_PRELOAD_DISABLE;
  if (HAL_TIM_Base_Init(&htim7) != HAL_OK)
  {
    Error_Handler();
  }
  sMasterConfig.MasterOutputTrigger = TIM_TRGO_RESET;
  sMasterConfig.MasterSlaveMode = TIM_MASTERSLAVEMODE_DISABLE;
  if (HAL_TIMEx_MasterConfigSynchronization(&htim7, &sMasterConfig) != HAL_OK)
  {
    Error_Handler();
  }

}

static void MX_TIM8_Init(void)
{

  /* USER CODE BEGIN TIM8_Init 0 */
/*
TIM8_CH1 ----> PeristalticPumpPWM2
  htim8.Instance = TIM8;
  htim8.Init.Prescaler = 0;
  htim8.Init.CounterMode = TIM_COUNTERMODE_UP;
  htim8.Init.Period = (ConstantPeristalticPumpPwmCycle * 2)-1;
  htim8.Init.ClockDivision = TIM_CLOCKDIVISION_DIV1;
  htim8.Init.RepetitionCounter = 0;
  htim8.Init.AutoReloadPreload = TIM_AUTORELOAD_PRELOAD_DISABLE;
*/
  /* USER CODE END TIM8_Init 0 */

  TIM_ClockConfigTypeDef sClockSourceConfig = {0};
  TIM_MasterConfigTypeDef sMasterConfig = {0};
  TIM_OC_InitTypeDef sConfigOC = {0};
  TIM_BreakDeadTimeConfigTypeDef sBreakDeadTimeConfig = {0};

  htim8.Instance = TIM8;
  htim8.Init.Prescaler = 0;
  htim8.Init.CounterMode = TIM_COUNTERMODE_UP;
  htim8.Init.Period = 40800-1;
  htim8.Init.ClockDivision = TIM_CLOCKDIVISION_DIV1;
  htim8.Init.RepetitionCounter = 0;
  htim8.Init.AutoReloadPreload = TIM_AUTORELOAD_PRELOAD_DISABLE;
  if (HAL_TIM_Base_Init(&htim8) != HAL_OK)
  {
    Error_Handler();
  }
  sClockSourceConfig.ClockSource = TIM_CLOCKSOURCE_INTERNAL;
  if (HAL_TIM_ConfigClockSource(&htim8, &sClockSourceConfig) != HAL_OK)
  {
    Error_Handler();
  }
  if (HAL_TIM_PWM_Init(&htim8) != HAL_OK)
  {
    Error_Handler();
  }
  sMasterConfig.MasterOutputTrigger = TIM_TRGO_RESET;
  sMasterConfig.MasterSlaveMode = TIM_MASTERSLAVEMODE_DISABLE;
  if (HAL_TIMEx_MasterConfigSynchronization(&htim8, &sMasterConfig) != HAL_OK)
  {
    Error_Handler();
  }
  sConfigOC.OCMode = TIM_OCMODE_PWM1;
  sConfigOC.Pulse = 8160-1;
  sConfigOC.OCPolarity = TIM_OCPOLARITY_HIGH;
  sConfigOC.OCNPolarity = TIM_OCNPOLARITY_HIGH;
  sConfigOC.OCFastMode = TIM_OCFAST_DISABLE;
  sConfigOC.OCIdleState = TIM_OCIDLESTATE_RESET;
  sConfigOC.OCNIdleState = TIM_OCNIDLESTATE_RESET;
  if (HAL_TIM_PWM_ConfigChannel(&htim8, &sConfigOC, TIM_CHANNEL_1) != HAL_OK)
  {
    Error_Handler();
  }
  sBreakDeadTimeConfig.OffStateRunMode = TIM_OSSR_DISABLE;
  sBreakDeadTimeConfig.OffStateIDLEMode = TIM_OSSI_DISABLE;
  sBreakDeadTimeConfig.LockLevel = TIM_LOCKLEVEL_OFF;
  sBreakDeadTimeConfig.DeadTime = 0;
  sBreakDeadTimeConfig.BreakState = TIM_BREAK_DISABLE;
  sBreakDeadTimeConfig.BreakPolarity = TIM_BREAKPOLARITY_HIGH;
  sBreakDeadTimeConfig.AutomaticOutput = TIM_AUTOMATICOUTPUT_DISABLE;
  if (HAL_TIMEx_ConfigBreakDeadTime(&htim8, &sBreakDeadTimeConfig) != HAL_OK)
  {
    Error_Handler();
  }
  /* USER CODE BEGIN TIM8_Init 2 */
/*
  sConfigOC.OCMode = TIM_OCMODE_PWM1;
  sConfigOC.Pulse = ((ConstantPeristalticPumpPwmCycle * 2) * 20 / 100) - 1;	// 20 % duty
  sConfigOC.OCPolarity = TIM_OCPOLARITY_HIGH;
  sConfigOC.OCNPolarity = TIM_OCNPOLARITY_HIGH;
  sConfigOC.OCFastMode = TIM_OCFAST_DISABLE;
  sConfigOC.OCIdleState = TIM_OCIDLESTATE_RESET;
  sConfigOC.OCNIdleState = TIM_OCNIDLESTATE_RESET;
*/
  /* USER CODE END TIM8_Init 2 */
  HAL_TIM_MspPostInit(&htim8);

}

static void MX_UART4_Init(void)
{

  huart4.Instance = UART4;
  huart4.Init.BaudRate = 115200;
  huart4.Init.WordLength = UART_WORDLENGTH_8B;
  huart4.Init.StopBits = UART_STOPBITS_1;
  huart4.Init.Parity = UART_PARITY_NONE;
  huart4.Init.Mode = UART_MODE_TX_RX;
  huart4.Init.HwFlowCtl = UART_HWCONTROL_NONE;
  huart4.Init.OverSampling = UART_OVERSAMPLING_16;
  if (HAL_UART_Init(&huart4) != HAL_OK)
  {
    Error_Handler();
  }

}

static void MX_USART1_UART_Init(void)
{

  huart1.Instance = USART1;
  huart1.Init.BaudRate = 115200;
  huart1.Init.WordLength = UART_WORDLENGTH_8B;
  huart1.Init.StopBits = UART_STOPBITS_1;
  huart1.Init.Parity = UART_PARITY_NONE;
  huart1.Init.Mode = UART_MODE_TX_RX;
  huart1.Init.HwFlowCtl = UART_HWCONTROL_NONE;
  huart1.Init.OverSampling = UART_OVERSAMPLING_16;
  if (HAL_UART_Init(&huart1) != HAL_OK)
  {
    Error_Handler();
  }

}

static void MX_USART3_UART_Init(void)
{

  huart3.Instance = USART3;
  huart3.Init.BaudRate = 9600;
  huart3.Init.WordLength = UART_WORDLENGTH_8B;
  huart3.Init.StopBits = UART_STOPBITS_1;
  huart3.Init.Parity = UART_PARITY_NONE;
  huart3.Init.Mode = UART_MODE_TX_RX;
  huart3.Init.HwFlowCtl = UART_HWCONTROL_NONE;
  huart3.Init.OverSampling = UART_OVERSAMPLING_16;
  if (HAL_UART_Init(&huart3) != HAL_OK)
  {
    Error_Handler();
  }

}

static void MX_DMA_Init(void)
{
  /* DMA controller clock enable */
  __HAL_RCC_DMA2_CLK_ENABLE();

  /* DMA interrupt init */
  /* DMA2_Stream0_IRQn interrupt configuration */
  HAL_NVIC_SetPriority(DMA2_Stream0_IRQn, 0, 0);
  HAL_NVIC_EnableIRQ(DMA2_Stream0_IRQn);

}

static void MX_GPIO_Init(void)
{
  GPIO_InitTypeDef GPIO_InitStruct = {0};

  /* GPIO Ports Clock Enable */
  __HAL_RCC_GPIOC_CLK_ENABLE();
  __HAL_RCC_GPIOH_CLK_ENABLE();
  __HAL_RCC_GPIOA_CLK_ENABLE();
  __HAL_RCC_GPIOB_CLK_ENABLE();
  __HAL_RCC_GPIOD_CLK_ENABLE();

  /*Configure GPIO pin Output Level */
  HAL_GPIO_WritePin(GPIOC, I2C_SEL4_Pin|I2C_SEL2_Pin|I2C_SEL3_Pin|LTEONOFF_Pin, GPIO_PIN_RESET);

  /*Configure GPIO pin Output Level */
  HAL_GPIO_WritePin(GPIOA, PeristalticPump1_Pin|I2C_SEL1_Pin, GPIO_PIN_RESET);

  /*Configure GPIO pin Output Level */
  HAL_GPIO_WritePin(SPI1_SS_GPIO_Port, SPI1_SS_Pin, GPIO_PIN_SET);

  /*Configure GPIO pin Output Level */
  HAL_GPIO_WritePin(GPIOB, ScrubberONOFF_Pin|HeaterOnOff1_Pin|SolenoidFluidPathAirPurge1_Pin|HeaterOnOff12_Pin
                          |AirPumpONOFF_Pin|SolenoidNozzleCleaning_Pin, GPIO_PIN_RESET);

  /*Configure GPIO pin Output Level */
  HAL_GPIO_WritePin(GPIOB, SensorFan_Pin|PeristalticPump2_Pin, GPIO_PIN_SET);

  /*Configure GPIO pin Output Level */
  HAL_GPIO_WritePin(Tempsensor1_GPIO_Port, Tempsensor1_Pin, GPIO_PIN_SET);

  /*Configure GPIO pins : I2C_SEL4_Pin I2C_SEL2_Pin I2C_SEL3_Pin */
  GPIO_InitStruct.Pin = I2C_SEL4_Pin|I2C_SEL2_Pin|I2C_SEL3_Pin;
  GPIO_InitStruct.Mode = GPIO_MODE_OUTPUT_PP;
  GPIO_InitStruct.Pull = GPIO_PULLUP;
  GPIO_InitStruct.Speed = GPIO_SPEED_FREQ_LOW;
  HAL_GPIO_Init(GPIOC, &GPIO_InitStruct);

  /*Configure GPIO pin : TP74_Pin */
  GPIO_InitStruct.Pin = TP74_Pin;
  GPIO_InitStruct.Mode = GPIO_MODE_INPUT;
  GPIO_InitStruct.Pull = GPIO_PULLUP;
  HAL_GPIO_Init(TP74_GPIO_Port, &GPIO_InitStruct);

  /*Configure GPIO pin : PeristalticPump1_Pin */
  GPIO_InitStruct.Pin = PeristalticPump1_Pin;
  GPIO_InitStruct.Mode = GPIO_MODE_OUTPUT_PP;
  GPIO_InitStruct.Pull = GPIO_NOPULL;
  GPIO_InitStruct.Speed = GPIO_SPEED_FREQ_LOW;
  HAL_GPIO_Init(PeristalticPump1_GPIO_Port, &GPIO_InitStruct);

  /*Configure GPIO pin : SPI1_SS_Pin */
  GPIO_InitStruct.Pin = SPI1_SS_Pin;
  GPIO_InitStruct.Mode = GPIO_MODE_OUTPUT_PP;
  GPIO_InitStruct.Pull = GPIO_PULLUP;
  GPIO_InitStruct.Speed = GPIO_SPEED_FREQ_VERY_HIGH;
  HAL_GPIO_Init(SPI1_SS_GPIO_Port, &GPIO_InitStruct);

  /*Configure GPIO pin : I2C_SEL1_Pin */
  GPIO_InitStruct.Pin = I2C_SEL1_Pin;
  GPIO_InitStruct.Mode = GPIO_MODE_OUTPUT_PP;
  GPIO_InitStruct.Pull = GPIO_PULLUP;
  GPIO_InitStruct.Speed = GPIO_SPEED_FREQ_LOW;
  HAL_GPIO_Init(I2C_SEL1_GPIO_Port, &GPIO_InitStruct);

  /*Configure GPIO pin : BlowerFanSignal1_Pin */
  GPIO_InitStruct.Pin = BlowerFanSignal1_Pin;
  GPIO_InitStruct.Mode = GPIO_MODE_INPUT;
  GPIO_InitStruct.Pull = GPIO_PULLUP;
  HAL_GPIO_Init(BlowerFanSignal1_GPIO_Port, &GPIO_InitStruct);

  /*Configure GPIO pins : ScrubberONOFF_Pin HeaterOnOff1_Pin HeaterOnOff12_Pin AirPumpONOFF_Pin */
  GPIO_InitStruct.Pin = ScrubberONOFF_Pin|HeaterOnOff1_Pin|HeaterOnOff12_Pin|AirPumpONOFF_Pin;
  GPIO_InitStruct.Mode = GPIO_MODE_OUTPUT_PP;
  GPIO_InitStruct.Pull = GPIO_PULLDOWN;
  GPIO_InitStruct.Speed = GPIO_SPEED_FREQ_LOW;
  HAL_GPIO_Init(GPIOB, &GPIO_InitStruct);

  /*Configure GPIO pins : SolenoidFluidPathAirPurge1_Pin SolenoidNozzleCleaning_Pin SensorFan_Pin */
  GPIO_InitStruct.Pin = SolenoidFluidPathAirPurge1_Pin|SolenoidNozzleCleaning_Pin|SensorFan_Pin;
  GPIO_InitStruct.Mode = GPIO_MODE_OUTPUT_PP;
  GPIO_InitStruct.Pull = GPIO_PULLUP;
  GPIO_InitStruct.Speed = GPIO_SPEED_FREQ_LOW;
  HAL_GPIO_Init(GPIOB, &GPIO_InitStruct);

  /*Configure GPIO pin : LTEONOFF_Pin */
  GPIO_InitStruct.Pin = LTEONOFF_Pin;
  GPIO_InitStruct.Mode = GPIO_MODE_OUTPUT_OD;
  GPIO_InitStruct.Pull = GPIO_NOPULL;
  GPIO_InitStruct.Speed = GPIO_SPEED_FREQ_HIGH;
  HAL_GPIO_Init(LTEONOFF_GPIO_Port, &GPIO_InitStruct);

  /*Configure GPIO pin : Tempsensor1_Pin */
  GPIO_InitStruct.Pin = Tempsensor1_Pin;
  GPIO_InitStruct.Mode = GPIO_MODE_OUTPUT_PP;
  GPIO_InitStruct.Pull = GPIO_PULLUP;
  GPIO_InitStruct.Speed = GPIO_SPEED_FREQ_VERY_HIGH;
  HAL_GPIO_Init(Tempsensor1_GPIO_Port, &GPIO_InitStruct);

  /*Configure GPIO pin : TP73_Pin */
  GPIO_InitStruct.Pin = TP73_Pin;
  GPIO_InitStruct.Mode = GPIO_MODE_INPUT;
  GPIO_InitStruct.Pull = GPIO_PULLUP;
  HAL_GPIO_Init(TP73_GPIO_Port, &GPIO_InitStruct);

  /*Configure GPIO pin : PeristalticPump2_Pin */
  GPIO_InitStruct.Pin = PeristalticPump2_Pin;
  GPIO_InitStruct.Mode = GPIO_MODE_OUTPUT_PP;
  GPIO_InitStruct.Pull = GPIO_NOPULL;
  GPIO_InitStruct.Speed = GPIO_SPEED_FREQ_LOW;
  HAL_GPIO_Init(PeristalticPump2_GPIO_Port, &GPIO_InitStruct);

}

void Error_Handler(void)
{
}

/************************ (C) COPYRIGHT STMicroelectronics *****END OF FILE****/
